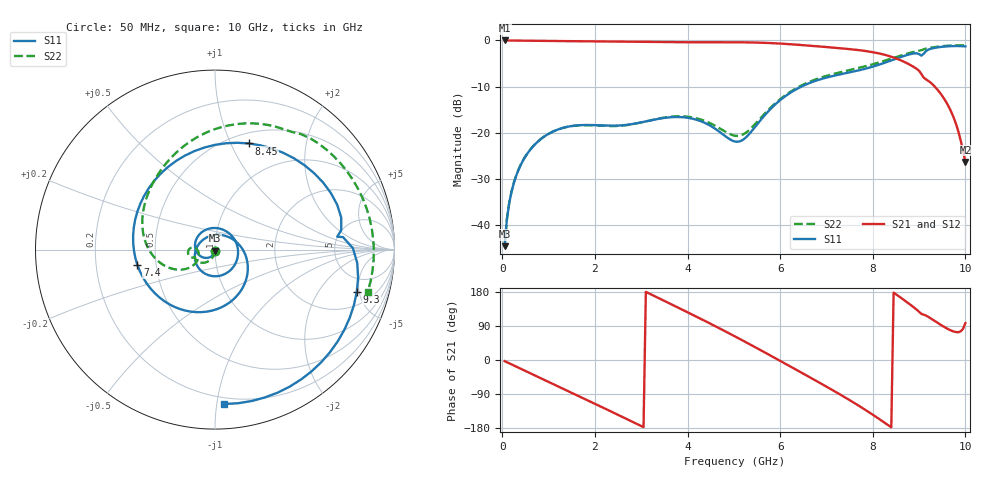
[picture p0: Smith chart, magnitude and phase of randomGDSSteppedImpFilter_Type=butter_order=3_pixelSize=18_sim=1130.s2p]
! freq	dB(S11)	phase(S11)	dB(S12)	phase(S12)
!  dB(S21)	phase(S21)	dB(S22)	phase(S22)
!S-par simulation data
#  GHz  S  DB  R 50
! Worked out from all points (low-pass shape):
!   200 points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, 50 MHz to 10 GHz, reference 50 ohm
!   highest |S21| = -0.01 dB at 50 MHz (marker M1); lowest = -26.3 dB at 10 GHz (marker M2)
!   |S21| within 3 dB of the highest: start of sweep to 8.217 GHz
!   lowest |S11| = -44.5 dB at 50 MHz (marker M3), VSWR 1.01, Z = 50 - j0.596 ohm
!   |S11| at or under -10 dB: start of sweep to 6.455 GHz
!   |S22| runs from -44.5 to -1.1 dB; largest |S21 - S12| = 0
!   S11 on the Smith chart (normalised r, x): 50 MHz: 1.00, -0.01; 7.4 GHz: 0.39, -0.08; 8.45 GHz: 0.61, +1.17; 9.3 GHz: 3.26, -4.74; 10 GHz: 0.16, -1.05
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0.05  -44.50 -90.2  -0.01 -3.0  -0.01 -3.0  -44.48 -88.5
0.1  -38.62 -95.6  -0.01 -5.9  -0.01 -5.9  -38.59 -92.4
0.2  -32.69 -104.1  -0.02 -11.7  -0.02 -11.7  -32.66 -97.8
0.5  -25.09 -127.3  -0.05 -29.0  -0.05 -29.0  -25.06 -111.3
1.15  -19.46 -177.8  -0.13 -66.4  -0.13 -66.4  -19.46 -136.7
1.75  -18.30 130.0  -0.18 -101.0  -0.18 -101.0  -18.34 -153.7
2.65  -18.30 32.0  -0.25 -153.5  -0.25 -153.5  -18.37 -159.7
3.4  -16.91 -51.3  -0.34 162.0  -0.34 162.0  -16.85 -164.1
4.3  -17.52 -139.3  -0.40 107.7  -0.40 107.7  -17.14 177.1
5.05  -21.90 110.1  -0.40 60.6  -0.40 60.6  -20.64 -169.9
5.5  -18.19 22.5  -0.46 31.2  -0.46 31.2  -17.65 -145.4
5.9  -13.78 -26.7  -0.62 4.5  -0.62 4.5  -13.55 -148.2
6.3  -10.83 -65.7  -0.88 -22.5  -0.88 -22.5  -10.62 -162.3
6.7  -8.96 -102.1  -1.19 -49.6  -1.19 -49.6  -8.68 -180.0
7.4  -7.12 -168.7  -1.78 -98.6  -1.78 -98.6  -6.65 147.6
7.85  -6.09 142.6  -2.30 -132.4  -2.30 -132.4  -5.57 126.8
8.35  -4.50 84.1  -3.37 -173.4  -3.37 -173.4  -4.09 101.3
8.45  -4.14 72.3  -3.70 178.0  -3.70 178.0  -3.77 95.6
8.85  -2.87 26.0  -5.53 142.4  -5.53 142.4  -2.56 70.1
9.3  -1.68 -16.5  -9.59 105.9  -9.59 105.9  -1.49 37.9
9.7  -1.23 -56.5  -15.57 77.4  -15.57 77.4  -1.10 7.5
10  -1.29 -86.7  -26.27 97.5  -26.27 97.5  -1.08 -15.4
